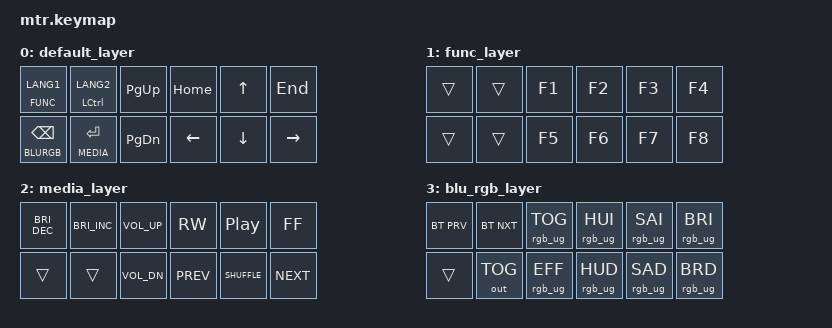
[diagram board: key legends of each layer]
/*
 * Copyright (c) 2023 mentako-ya
 *
 * SPDX-License-Identifier: MIT
 */

#include <behaviors.dtsi>
#include <dt-bindings/zmk/keys.h>
#include <dt-bindings/zmk/bt.h>
#include <dt-bindings/zmk/outputs.h>
#include <dt-bindings/zmk/rgb.h>

#define BASE   0
#define FUNC   1
#define MEDIA  2
#define BLURGB 3


&mt {
  quick-tap-ms = <100>;
  global-quick-tap;
  flavor = "tap-preferred";
  tapping-term-ms = <180>;
};

/ {
    keymap {
        compatible = "zmk,keymap";

        default_layer {
// | SW10          | SW9           |          | SW4   | SW3   | SW2   | SW1  |
// | SW12          | SW11          |          | SW8   | SW7   | SW6   | SW5  |
            bindings = <
    &lt FUNC LANG1  &mt LCTRL LANG2            &kp PG_UP &kp HOME &kp UP   &kp END
    &lt BLURGB BSPC &lt MEDIA ENTER            &kp PG_DN &kp LEFT &kp DOWN &kp RIGHT
            >;

//          sensor-bindings = <&inc_dec_kp C_VOL_UP C_VOL_DN &inc_dec_kp PG_UP PG_DN>;
        };
        
        func_layer {
            bindings = <
    &trans          &trans                     &kp F1    &kp F2   &kp F3   &kp F4
    &trans          &trans                     &kp F5    &kp F6   &kp F7   &kp F8
 
 
 >;
//         sensor-bindings = <&inc_dec_kp C_VOL_DN C_VOL_UP>;
        };

        media_layer {
            bindings = <
    &kp C_BRI_DEC   &kp C_BRI_INC              &kp C_VOL_UP &kp C_RW   &kp C_PP      &kp C_FF
    &trans          &trans                     &kp C_VOL_DN &kp C_PREV &kp C_SHUFFLE &kp C_NEXT
 
 
 >;
//         sensor-bindings = <&inc_dec_kp C_VOL_DN C_VOL_UP>;
        };
        
        blu_rgb_layer {
            bindings = <
    &bt BT_PRV      &bt BT_NXT                 &rgb_ug RGB_TOG &rgb_ug RGB_HUI &rgb_ug RGB_SAI &rgb_ug RGB_BRI
    &trans          &out OUT_TOG               &rgb_ug RGB_EFF &rgb_ug RGB_HUD &rgb_ug RGB_SAD &rgb_ug RGB_BRD
            >;
//        sensor-bindings = <&inc_dec_kp C_VOL_DN C_VOL_UP>;
        };

    };
};
